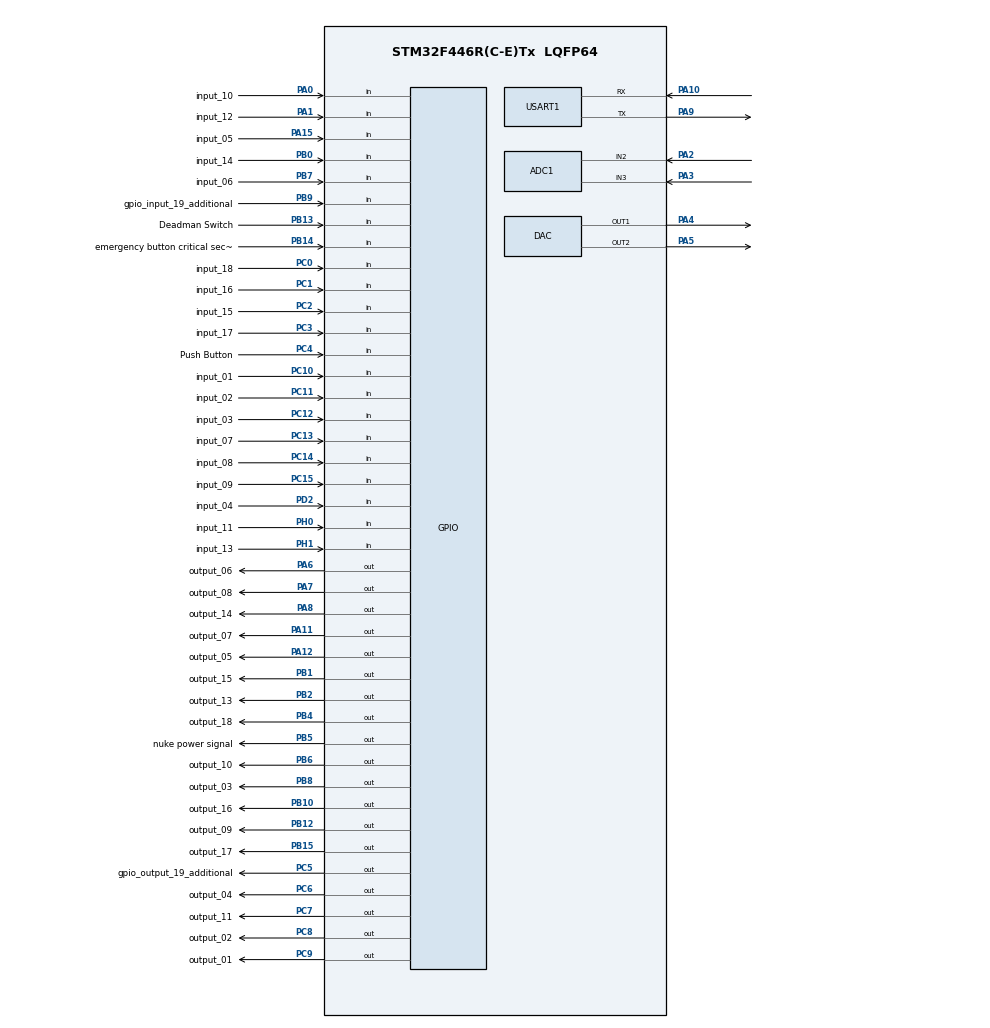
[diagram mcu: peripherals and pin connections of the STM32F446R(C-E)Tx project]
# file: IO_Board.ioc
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ADC1.Channel-1\#ChannelRegularConversion=ADC_CHANNEL_2
ADC1.Channel-2\#ChannelRegularConversion=ADC_CHANNEL_2
ADC1.DMAContinuousRequests=ENABLE
ADC1.EOCSelection=ADC_EOC_SEQ_CONV
ADC1.NbrOfConversion=2
ADC1.NbrOfConversionFlag=1
ADC1.Rank-1\#ChannelRegularConversion=1
ADC1.Rank-2\#ChannelRegularConversion=2
ADC1.SamplingTime-1\#ChannelRegularConversion=ADC_SAMPLETIME_84CYCLES
ADC1.SamplingTime-2\#ChannelRegularConversion=ADC_SAMPLETIME_84CYCLES
ADC1.ScanConvMode=ENABLE
ADC1.master=1
Dma.ADC1.0.Direction=DMA_PERIPH_TO_MEMORY
Dma.ADC1.0.FIFOMode=DMA_FIFOMODE_DISABLE
Dma.ADC1.0.Instance=DMA2_Stream0
Dma.ADC1.0.MemDataAlignment=DMA_MDATAALIGN_HALFWORD
Dma.ADC1.0.MemInc=DMA_MINC_ENABLE
Dma.ADC1.0.Mode=DMA_CIRCULAR
Dma.ADC1.0.PeriphDataAlignment=DMA_PDATAALIGN_HALFWORD
Dma.ADC1.0.PeriphInc=DMA_PINC_DISABLE
Dma.ADC1.0.Priority=DMA_PRIORITY_LOW
Dma.Request0=ADC1
Mcu.Family=STM32F4
Mcu.Name=STM32F446R(C-E)Tx
Mcu.Package=LQFP64
NVIC.DMA2_Stream0_IRQn=true\:0\:0\:false\:false\:true\:false\:true\:true
NVIC.PriorityGroup=NVIC_PRIORITYGROUP_4
NVIC.USART1_IRQn=true\:0\:0\:false\:false\:true\:true\:true\:true
PA0-WKUP.GPIO_Label=input_10
PA0-WKUP.GPIO_PuPd=GPIO_PULLDOWN
PA0-WKUP.Signal=GPIO_Input
PA1.GPIO_Label=input_12
PA1.Signal=GPIO_Input
PA10.Mode=Asynchronous
PA10.Signal=USART1_RX
PA11.GPIO_Label=output_07
PA11.Signal=GPIO_Output
PA12.GPIO_Label=output_05
PA12.Signal=GPIO_Output
PA13.Mode=Serial_Wire
PA13.Signal=SYS_JTMS-SWDIO
PA14.Mode=Serial_Wire
PA14.Signal=SYS_JTCK-SWCLK
PA15.GPIO_Label=input_05
PA15.GPIO_PuPd=GPIO_PULLDOWN
PA15.Signal=GPIO_Input
PA2.Signal=ADCx_IN2
PA3.Signal=ADCx_IN3
PA4.Signal=COMP_DAC1_group
PA5.Signal=COMP_DAC2_group
PA6.GPIO_Label=output_06
PA6.Signal=GPIO_Output
PA7.GPIO_Label=output_08
PA7.Signal=GPIO_Output
PA8.GPIO_Label=output_14
PA8.Signal=GPIO_Output
PA9.Mode=Asynchronous
PA9.Signal=USART1_TX
PB0.GPIO_Label=input_14
PB0.GPIO_PuPd=GPIO_PULLDOWN
PB0.Signal=GPIO_Input
PB1.GPIO_Label=output_15
PB1.Signal=GPIO_Output
PB10.GPIO_Label=output_16
PB10.Signal=GPIO_Output
PB12.GPIO_Label=output_09
PB12.Signal=GPIO_Output
PB13.GPIO_Label=Deadman Switch
PB13.GPIO_PuPd=GPIO_PULLDOWN
PB13.Signal=GPIO_Input
PB14.GPIO_Label=emergency button critical security
PB14.GPIO_PuPd=GPIO_PULLDOWN
PB14.Signal=GPIO_Input
PB15.GPIO_Label=output_17
PB15.Signal=GPIO_Output
PB2.GPIO_Label=output_13
PB2.Signal=GPIO_Output
PB4.GPIO_Label=output_18
PB4.Signal=GPIO_Output
PB5.GPIO_Label=nuke power signal
PB5.Signal=GPIO_Output
PB6.GPIO_Label=output_10
PB6.Signal=GPIO_Output
PB7.GPIO_Label=input_06
PB7.GPIO_PuPd=GPIO_PULLDOWN
PB7.Signal=GPIO_Input
PB8.GPIO_Label=output_03
PB8.Signal=GPIO_Output
PB9.GPIO_Label=gpio_input_19_additional
PB9.GPIO_PuPd=GPIO_PULLDOWN
PB9.Signal=GPIO_Input
PC0.GPIO_Label=input_18
PC0.GPIO_PuPd=GPIO_PULLDOWN
PC0.Signal=GPIO_Input
PC1.GPIO_Label=input_16
PC1.GPIO_PuPd=GPIO_PULLDOWN
PC1.Signal=GPIO_Input
PC10.GPIO_Label=input_01
PC10.GPIO_PuPd=GPIO_PULLDOWN
PC10.Signal=GPIO_Input
PC11.GPIO_Label=input_02
PC11.GPIO_PuPd=GPIO_PULLDOWN
PC11.Signal=GPIO_Input
PC12.GPIO_Label=input_03
PC12.GPIO_PuPd=GPIO_PULLDOWN
PC12.Signal=GPIO_Input
PC13.GPIO_Label=input_07
PC13.GPIO_PuPd=GPIO_PULLDOWN
PC13.Signal=GPIO_Input
PC14-OSC32_IN.GPIO_Label=input_08
PC14-OSC32_IN.GPIO_PuPd=GPIO_PULLDOWN
PC14-OSC32_IN.Signal=GPIO_Input
PC15-OSC32_OUT.GPIO_Label=input_09
PC15-OSC32_OUT.GPIO_PuPd=GPIO_PULLDOWN
PC15-OSC32_OUT.Signal=GPIO_Input
PC2.GPIO_Label=input_15
PC2.GPIO_PuPd=GPIO_PULLDOWN
PC2.Signal=GPIO_Input
PC3.GPIO_Label=input_17
PC3.GPIO_PuPd=GPIO_PULLDOWN
PC3.Signal=GPIO_Input
PC4.GPIO_Label=Push Button
PC4.GPIO_PuPd=GPIO_PULLDOWN
PC4.Signal=GPIO_Input
PC5.GPIO_Label=gpio_output_19_additional
PC5.Signal=GPIO_Output
PC6.GPIO_Label=output_04
PC6.Signal=GPIO_Output
PC7.GPIO_Label=output_11
PC7.Signal=GPIO_Output
PC8.GPIO_Label=output_02
PC8.Signal=GPIO_Output
PC9.GPIO_Label=output_01
PC9.Signal=GPIO_Output
PD2.GPIO_Label=input_04
PD2.GPIO_PuPd=GPIO_PULLDOWN
PD2.Signal=GPIO_Input
PH0-OSC_IN.GPIO_Label=input_11
PH0-OSC_IN.GPIO_PuPd=GPIO_PULLDOWN
PH0-OSC_IN.Signal=GPIO_Input
PH1-OSC_OUT.GPIO_Label=input_13
PH1-OSC_OUT.GPIO_PuPd=GPIO_PULLDOWN
PH1-OSC_OUT.Signal=GPIO_Input
ProjectManager.HeapSize=0x200
ProjectManager.StackSize=0x400
ProjectManager.TargetToolchain=STM32CubeIDE
RCC.CortexFreq_Value=16000000
RCC.USBFreq_Value=96000000
RCC.VCOOutputFreq_Value=192000000
SH.ADCx_IN2.0=ADC1_IN2,IN2
SH.ADCx_IN3.0=ADC1_IN3,IN3
SH.COMP_DAC1_group.0=DAC_OUT1,DAC_OUT1
SH.COMP_DAC2_group.0=DAC_OUT2,DAC_OUT2
USART1.VirtualMode=VM_ASYNC
board=custom

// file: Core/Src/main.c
/* USER CODE BEGIN Header */
/**
  ******************************************************************************
  * @file           : main.c
  * @brief          : Main program body
  ******************************************************************************
  * @attention
  *
  * Copyright (c) 2026 STMicroelectronics.
  * All rights reserved.
  *
  * This software is licensed under terms that can be found in the LICENSE file
  * in the root directory of this software component.
  * If no LICENSE file comes with this software, it is provided AS-IS.
  *
  ******************************************************************************
  */
/* USER CODE END Header */
#include "main.h"
#include "adc.h"
#include "dac.h"
#include "dma.h"
#include "usart.h"
#include "gpio.h"

/* USER CODE BEGIN Includes */
#include <string.h>
#include <stdio.h>
#include <stdlib.h>
/* USER CODE END Includes */

/* USER CODE BEGIN PD */
#define NUM_DI              21
#define NUM_DO              17
#define DEBOUNCE_MS         25
#define MAX_CMD_LEN         32
#define HEARTBEAT_MS        5000
#define ADC_REPORT_MS       500     // send analog values every 500ms
#define SHUTDOWN_DELAY_MS   15000   // 15-second delay before PB5 goes LOW
/* USER CODE END PD */

/* USER CODE BEGIN PV */
/* ---- ADC DMA buffer ---- */
uint16_t adc_buf[2];   // [0]=PA2(CH2), [1]=PA3(CH3)

/* ---- UART RX ---- */
uint8_t  rx_byte;
char     rx_buf[MAX_CMD_LEN + 1];
uint8_t  rx_idx = 0;

/* ---- UART TX ---- */
char     tx_buf[64];

/* ---- DI state ---- */
typedef struct {
    GPIO_TypeDef* port;
    uint16_t      pin;
} GPIOPin;

const GPIOPin DI_PINS[NUM_DI] = {
    {GPIOC, GPIO_PIN_10},  // DI1
    {GPIOC, GPIO_PIN_11},  // DI2
    {GPIOC, GPIO_PIN_12},  // DI3
    {GPIOD, GPIO_PIN_2},   // DI4
    {GPIOA, GPIO_PIN_15},  // DI5
    {GPIOB, GPIO_PIN_7},   // DI6
    {GPIOC, GPIO_PIN_13},  // DI7
    {GPIOC, GPIO_PIN_14},  // DI8
    {GPIOC, GPIO_PIN_15},  // DI9
    {GPIOA, GPIO_PIN_0},   // DI10
    {GPIOH, GPIO_PIN_0},   // DI11
    {GPIOA, GPIO_PIN_1},   // DI12
    {GPIOH, GPIO_PIN_1},   // DI13
    {GPIOB, GPIO_PIN_0},   // DI14
    {GPIOC, GPIO_PIN_2},   // DI15
    {GPIOC, GPIO_PIN_1},   // DI16
    {GPIOC, GPIO_PIN_3},   // DI17
    {GPIOC, GPIO_PIN_0},   // DI18
    {GPIOB, GPIO_PIN_14},  // DI19 — EMERGENCY
    {GPIOB, GPIO_PIN_13},  // DI20 — DEADMAN
    {GPIOC, GPIO_PIN_4},   // DI21 — POWER_BTN
};

const GPIOPin DO_PINS[NUM_DO] = {
    {GPIOC, GPIO_PIN_9},   // DO1
    {GPIOC, GPIO_PIN_8},   // DO2
    {GPIOB, GPIO_PIN_8},   // DO3
    {GPIOC, GPIO_PIN_6},   // DO4
    {GPIOB, GPIO_PIN_9},   // DO5
    {GPIOC, GPIO_PIN_5},   // DO6
    {GPIOA, GPIO_PIN_12},  // DO7
    {GPIOA, GPIO_PIN_7},   // DO8
    {GPIOB, GPIO_PIN_12},  // DO9
    {GPIOB, GPIO_PIN_6},   // DO10
    {GPIOC, GPIO_PIN_7},   // DO11
    {GPIOB, GPIO_PIN_2},   // DO12
    {GPIOA, GPIO_PIN_8},   // DO13
    {GPIOB, GPIO_PIN_1},   // DO14
    {GPIOB, GPIO_PIN_10},  // DO15
    {GPIOB, GPIO_PIN_15},  // DO16
    {GPIOB, GPIO_PIN_4},   // DO17
};

uint8_t  di_state[NUM_DI];
uint8_t  di_last_state[NUM_DI];
uint32_t di_last_change[NUM_DI];

uint8_t  do_state[NUM_DO];

uint32_t last_heartbeat  = 0;
uint32_t last_adc_report = 0;
uint8_t  pa13_gpio_mode  = 0;
uint8_t  pa14_gpio_mode  = 0;

/* ---- PB5 / Shutdown state ---- */
uint8_t  pb5_state          = 0;   // tracks current PB5 output level
uint8_t  shutdown_pending   = 0;   // waiting for ACK + 15-s delay
uint8_t  ack_received       = 0;   // set when "ACK" is parsed from UART
uint32_t shutdown_start_time = 0;  // tick when ACK was received
/* USER CODE END PV */

void SystemClock_Config(void);

/* USER CODE BEGIN 0 */
extern UART_HandleTypeDef huart1;
extern ADC_HandleTypeDef  hadc1;
extern DAC_HandleTypeDef  hdac;

void uart_send(const char* s) {
    HAL_UART_Transmit(&huart1, (uint8_t*)s, strlen(s), 100);
}

void processCommand(const char* cmd) {
    if (strcmp(cmd, "PING") == 0) {
        uart_send("PONG\n");
        return;
    }

    if (strcmp(cmd, "DI_STATE") == 0) {
        for (uint8_t i = 0; i < NUM_DI; i++) {
            snprintf(tx_buf, sizeof(tx_buf), "DI,%d,%d\n", i+1, di_state[i]);
            uart_send(tx_buf);
        }
        return;
    }

    if (strcmp(cmd, "DO_STATE") == 0) {
        for (uint8_t i = 0; i < NUM_DO; i++) {
            snprintf(tx_buf, sizeof(tx_buf), "DO_STATE,%d,%d\n", i+1, do_state[i]);
            uart_send(tx_buf);
        }
        return;
    }

    if (strncmp(cmd, "DO,", 3) == 0) {
        const char* p = strchr(cmd + 3, ',');
        if (p == NULL) return;
        uint8_t idx = (uint8_t)atoi(cmd + 3);
        uint8_t val = (uint8_t)atoi(p + 1);
        if (idx < 1 || idx > NUM_DO) return;
        HAL_GPIO_WritePin(DO_PINS[idx-1].port, DO_PINS[idx-1].pin,
                          val ? GPIO_PIN_SET : GPIO_PIN_RESET);
        do_state[idx-1] = val ? 1 : 0;
        snprintf(tx_buf, sizeof(tx_buf), "DO_OK,%d,%d\n", idx, do_state[idx-1]);
        uart_send(tx_buf);
        return;
    }

    // ANALOG OUT: "AO,<ch>,<val>"  ch=1(PA4) or 2(PA5), val=0-4095
    if (strncmp(cmd, "AO,", 3) == 0) {
        const char* p = strchr(cmd + 3, ',');
        if (p == NULL) return;
        uint8_t  ch  = (uint8_t)atoi(cmd + 3);
        uint32_t val = (uint32_t)atoi(p + 1);
        if (val > 4095) val = 4095;
        if (ch == 1)
            HAL_DAC_SetValue(&hdac, DAC_CHANNEL_1, DAC_ALIGN_12B_R, val);
        else if (ch == 2)
            HAL_DAC_SetValue(&hdac, DAC_CHANNEL_2, DAC_ALIGN_12B_R, val);
        snprintf(tx_buf, sizeof(tx_buf), "AO_OK,%d,%lu\n", ch, val);
        uart_send(tx_buf);
        return;
    }

    // NUKE POWER: "PB5,<0|1>"
    if (strncmp(cmd, "PB5,", 4) == 0) {
        uint8_t val = (uint8_t)atoi(cmd + 4);
        HAL_GPIO_WritePin(GPIOB, GPIO_PIN_5,
                          val ? GPIO_PIN_SET : GPIO_PIN_RESET);
        pb5_state = val ? 1 : 0;   // keep pb5_state in sync
        snprintf(tx_buf, sizeof(tx_buf), "PB5_OK,%d\n", val);
        uart_send(tx_buf);
        return;
    }

    // ACK from host — arms the 15-second shutdown countdown
    if (strcmp(cmd, "ACK") == 0) {
        if (shutdown_pending) {
            ack_received        = 1;
            shutdown_start_time = HAL_GetTick();
        }
        return;
    }

    // PA13 GPIO control
    if (strcmp(cmd, "PA13_HIGH") == 0) {
        __HAL_RCC_GPIOA_CLK_ENABLE();
        GPIO_InitTypeDef GPIO_InitStruct = {0};
        GPIO_InitStruct.Pin   = GPIO_PIN_13;
        GPIO_InitStruct.Mode  = GPIO_MODE_OUTPUT_PP;
        GPIO_InitStruct.Pull  = GPIO_NOPULL;
        GPIO_InitStruct.Speed = GPIO_SPEED_FREQ_LOW;
        HAL_GPIO_Init(GPIOA, &GPIO_InitStruct);
        HAL_GPIO_WritePin(GPIOA, GPIO_PIN_13, GPIO_PIN_SET);
        pa13_gpio_mode = 1;
        uart_send("PA13_OK\n");
        return;
    }

    if (strcmp(cmd, "PA13_LOW") == 0) {
        if (pa13_gpio_mode == 1)
            HAL_GPIO_WritePin(GPIOA, GPIO_PIN_13, GPIO_PIN_RESET);
        uart_send("PA13_OK\n");
        return;
    }

    // PA14 GPIO control
    if (strcmp(cmd, "PA14_HIGH") == 0) {
        __HAL_RCC_GPIOA_CLK_ENABLE();
        GPIO_InitTypeDef GPIO_InitStruct = {0};
        GPIO_InitStruct.Pin   = GPIO_PIN_14;
        GPIO_InitStruct.Mode  = GPIO_MODE_OUTPUT_PP;
        GPIO_InitStruct.Pull  = GPIO_NOPULL;
        GPIO_InitStruct.Speed = GPIO_SPEED_FREQ_LOW;
        HAL_GPIO_Init(GPIOA, &GPIO_InitStruct);
        HAL_GPIO_WritePin(GPIOA, GPIO_PIN_14, GPIO_PIN_SET);
        pa14_gpio_mode = 1;
        uart_send("PA14_OK\n");
        return;
    }

    if (strcmp(cmd, "PA14_LOW") == 0) {
        if (pa14_gpio_mode == 1)
            HAL_GPIO_WritePin(GPIOA, GPIO_PIN_14, GPIO_PIN_RESET);
        uart_send("PA14_OK\n");
        return;
    }
}

/* UART RX interrupt callback */
void HAL_UART_RxCpltCallback(UART_HandleTypeDef *huart) {
    if (huart->Instance != USART1) return;
    char c = (char)rx_byte;
    if (c == '\n') {
        rx_buf[rx_idx] = '\0';
        if (rx_idx > 0) processCommand(rx_buf);
        rx_idx = 0;
    } else if (c != '\r') {
        if (rx_idx < MAX_CMD_LEN)
            rx_buf[rx_idx++] = c;
        else
            rx_idx = 0;  // overflow — discard
    }
    HAL_UART_Receive_IT(&huart1, &rx_byte, 1);  // re-arm
}
/* USER CODE END 0 */

int main(void)
{

  /* MCU Configuration--------------------------------------------------------*/

  /* Reset of all peripherals, Initializes the Flash interface and the Systick. */
  HAL_Init();

  /* Configure the system clock */
  SystemClock_Config();

  /* Initialize all configured peripherals */
  MX_GPIO_Init();
  MX_DMA_Init();
  MX_ADC1_Init();
  MX_DAC_Init();
  MX_USART1_UART_Init();
  /* USER CODE BEGIN 2 */
  /* Start ADC DMA */
  HAL_ADC_Start_DMA(&hadc1, (uint32_t*)adc_buf, 2);

  /* Start DAC outputs at 0V */
  HAL_DAC_Start(&hdac, DAC_CHANNEL_1);
  HAL_DAC_Start(&hdac, DAC_CHANNEL_2);

  /* Init DI state */
  for (uint8_t i = 0; i < NUM_DI; i++) {
      di_state[i]       = HAL_GPIO_ReadPin(DI_PINS[i].port, DI_PINS[i].pin);
      di_last_state[i]  = di_state[i];
      di_last_change[i] = HAL_GetTick();
  }

  /* Arm UART RX interrupt */
  HAL_UART_Receive_IT(&huart1, &rx_byte, 1);

  /* Announce ready + broadcast initial DI states */
  uart_send("READY\n");
  for (uint8_t i = 0; i < NUM_DI; i++) {
      snprintf(tx_buf, sizeof(tx_buf), "DI,%d,%d\n", i+1, di_state[i]);
      uart_send(tx_buf);
  }
  /* USER CODE END 2 */

  /* Infinite loop */
  while (1)
  {

    /* USER CODE BEGIN 3 */
      uint32_t now = HAL_GetTick();

      /* ---- Scan DI with debounce ---- */
      for (uint8_t i = 0; i < NUM_DI; i++) {
          uint8_t reading = HAL_GPIO_ReadPin(DI_PINS[i].port, DI_PINS[i].pin);
          if (reading != di_last_state[i]) {
              di_last_change[i] = now;
              di_last_state[i]  = reading;
          }
          if ((now - di_last_change[i]) > DEBOUNCE_MS) {
              if (reading != di_state[i]) {
                  di_state[i] = reading;
                  snprintf(tx_buf, sizeof(tx_buf), "DI,%d,%d\n", i+1, di_state[i]);
                  uart_send(tx_buf);

                  /* ---- DI21 (index 20) rising edge → PB5 / Shutdown logic ---- */
                  if (i == 20 && reading == 1) {
                      if (pb5_state == 0) {
                          /* PB5 was LOW → turn it HIGH (power on) */
                          HAL_GPIO_WritePin(GPIOB, GPIO_PIN_5, GPIO_PIN_SET);
                          pb5_state = 1;
                          uart_send("PB5_OK,1\n");
                      } else {
                          /* PB5 already HIGH → request shutdown confirmation */
                          shutdown_pending    = 1;
                          ack_received        = 0;
                          shutdown_start_time = 0;
                          uart_send("Shutdown_confirmation\n");
                      }
                  }
              }
          }
      }

      /* ---- Shutdown countdown (non-blocking) ---- */
      if (shutdown_pending && ack_received) {
          /* shutdown_start_time is set inside processCommand when ACK arrives */
          if ((now - shutdown_start_time) >= SHUTDOWN_DELAY_MS) {
              HAL_GPIO_WritePin(GPIOB, GPIO_PIN_5, GPIO_PIN_RESET);
              pb5_state           = 0;
              shutdown_pending    = 0;
              ack_received        = 0;
              shutdown_start_time = 0;
              uart_send("PB5_OK,0\n");
          }
      }

      /* ---- Heartbeat ---- */
      if ((now - last_heartbeat) >= HEARTBEAT_MS) {
          last_heartbeat = now;
          uart_send("HB\n");
      }

      /* ---- Analog report ---- */
      if ((now - last_adc_report) >= ADC_REPORT_MS) {
          last_adc_report = now;
          snprintf(tx_buf, sizeof(tx_buf), "AI,1,%d\n", adc_buf[0]);
          uart_send(tx_buf);
          snprintf(tx_buf, sizeof(tx_buf), "AI,2,%d\n", adc_buf[1]);
          uart_send(tx_buf);
      }
  }
  /* USER CODE END 3 */
}

void SystemClock_Config(void)
{
  RCC_OscInitTypeDef RCC_OscInitStruct = {0};
  RCC_ClkInitTypeDef RCC_ClkInitStruct = {0};

  /** Configure the main internal regulator output voltage
  */
  __HAL_RCC_PWR_CLK_ENABLE();
  __HAL_PWR_VOLTAGESCALING_CONFIG(PWR_REGULATOR_VOLTAGE_SCALE3);

  /** Initializes the RCC Oscillators according to the specified parameters
  * in the RCC_OscInitTypeDef structure.
  */
  RCC_OscInitStruct.OscillatorType = RCC_OSCILLATORTYPE_HSI;
  RCC_OscInitStruct.HSIState = RCC_HSI_ON;
  RCC_OscInitStruct.HSICalibrationValue = RCC_HSICALIBRATION_DEFAULT;
  RCC_OscInitStruct.PLL.PLLState = RCC_PLL_NONE;
  if (HAL_RCC_OscConfig(&RCC_OscInitStruct) != HAL_OK)
  {
    Error_Handler();
  }

  /** Initializes the CPU, AHB and APB buses clocks
  */
  RCC_ClkInitStruct.ClockType = RCC_CLOCKTYPE_HCLK|RCC_CLOCKTYPE_SYSCLK
                              |RCC_CLOCKTYPE_PCLK1|RCC_CLOCKTYPE_PCLK2;
  RCC_ClkInitStruct.SYSCLKSource = RCC_SYSCLKSOURCE_HSI;
  RCC_ClkInitStruct.AHBCLKDivider = RCC_SYSCLK_DIV1;
  RCC_ClkInitStruct.APB1CLKDivider = RCC_HCLK_DIV1;
  RCC_ClkInitStruct.APB2CLKDivider = RCC_HCLK_DIV1;

  if (HAL_RCC_ClockConfig(&RCC_ClkInitStruct, FLASH_LATENCY_0) != HAL_OK)
  {
    Error_Handler();
  }
}

void Error_Handler(void)
{
  __disable_irq();
  while (1)
  {
  }
}
